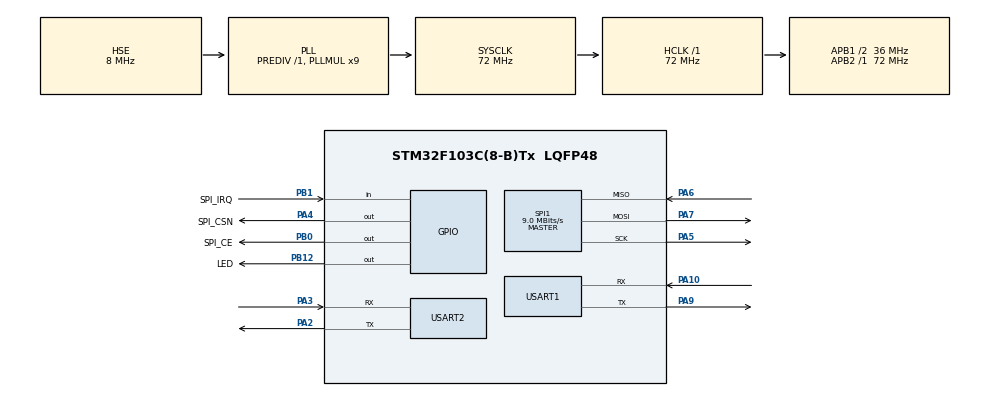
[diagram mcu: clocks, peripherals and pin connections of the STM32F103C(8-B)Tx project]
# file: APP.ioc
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IWDG.Prescaler=IWDG_PRESCALER_16
IWDG.Reload=2499
Mcu.Family=STM32F1
Mcu.Name=STM32F103C(8-B)Tx
Mcu.Package=LQFP48
NVIC.PriorityGroup=NVIC_PRIORITYGROUP_4
NVIC.TIM2_IRQn=true\:1\:0\:true\:false\:true\:true\:true\:true
NVIC.USART2_IRQn=true\:0\:0\:false\:false\:true\:true\:true\:true
PA10.Mode=Asynchronous
PA10.Signal=USART1_RX
PA13.Mode=Serial_Wire
PA13.Signal=SYS_JTMS-SWDIO
PA14.Mode=Serial_Wire
PA14.Signal=SYS_JTCK-SWCLK
PA2.Mode=Asynchronous
PA2.Signal=USART2_TX
PA3.GPIO_PuPd=GPIO_PULLDOWN
PA3.Mode=Asynchronous
PA3.Signal=USART2_RX
PA4.GPIO_Label=SPI_CSN
PA4.GPIO_Speed=GPIO_SPEED_FREQ_HIGH
PA4.PinState=GPIO_PIN_SET
PA4.Signal=GPIO_Output
PA5.Mode=Full_Duplex_Master
PA5.Signal=SPI1_SCK
PA6.Mode=Full_Duplex_Master
PA6.Signal=SPI1_MISO
PA7.Mode=Full_Duplex_Master
PA7.Signal=SPI1_MOSI
PA9.Mode=Asynchronous
PA9.Signal=USART1_TX
PB0.GPIO_Label=SPI_CE
PB0.GPIO_PuPd=GPIO_PULLUP
PB0.PinState=GPIO_PIN_SET
PB0.Signal=GPIO_Output
PB1.GPIO_Label=SPI_IRQ
PB1.GPIO_PuPd=GPIO_PULLUP
PB1.Signal=GPIO_Input
PB12.GPIO_Label=LED
PB12.PinState=GPIO_PIN_SET
PB12.Signal=GPIO_Output
PD0-OSC_IN.Mode=HSE-External-Oscillator
PD0-OSC_IN.Signal=RCC_OSC_IN
PD1-OSC_OUT.Mode=HSE-External-Oscillator
PD1-OSC_OUT.Signal=RCC_OSC_OUT
ProjectManager.HeapSize=0x200
ProjectManager.StackSize=0x400
ProjectManager.TargetToolchain=MDK-ARM V5.32
RCC.AHBFreq_Value=72000000
RCC.APB1CLKDivider=RCC_HCLK_DIV2
RCC.APB1Freq_Value=36000000
RCC.APB1TimFreq_Value=72000000
RCC.APB2Freq_Value=72000000
RCC.APB2TimFreq_Value=72000000
RCC.HCLKFreq_Value=72000000
RCC.PLLMUL=RCC_PLL_MUL9
RCC.PLLSourceVirtual=RCC_PLLSOURCE_HSE
RCC.SYSCLKFreq_VALUE=72000000
RCC.SYSCLKSource=RCC_SYSCLKSOURCE_PLLCLK
RCC.USBFreq_Value=72000000
SPI1.BaudRatePrescaler=SPI_BAUDRATEPRESCALER_8
SPI1.CalculateBaudRate=9.0 MBits/s
SPI1.Direction=SPI_DIRECTION_2LINES
SPI1.Mode=SPI_MODE_MASTER
SPI1.VirtualType=VM_MASTER
TIM2.AutoReloadPreload=TIM_AUTORELOAD_PRELOAD_DISABLE
TIM2.Period=1000-1
TIM2.Prescaler=7200-1
USART1.VirtualMode=VM_ASYNC
USART2.VirtualMode=VM_ASYNC
VP_CRC_VS_CRC.Mode=CRC_Activate
VP_IWDG_VS_IWDG.Mode=IWDG_Activate
VP_TIM2_VS_ClockSourceINT.Mode=Internal
board=custom

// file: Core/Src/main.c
/* USER CODE BEGIN Header */
/**
  ******************************************************************************
  * @file           : main.c
  * @brief          : Main program body
  ******************************************************************************
  * @attention
  *
  * Copyright (c) 2026 STMicroelectronics.
  * All rights reserved.
  *
  * This software is licensed under terms that can be found in the LICENSE file
  * in the root directory of this software component.
  * If no LICENSE file comes with this software, it is provided AS-IS.
  *
  ******************************************************************************
  */
/* USER CODE END Header */
#include "main.h"
#include "crc.h"
#include "iwdg.h"
#include "spi.h"
#include "tim.h"
#include "usart.h"
#include "gpio.h"

/* USER CODE BEGIN Includes */
#include "Mydef.h"
/* USER CODE END Includes */

/* USER CODE BEGIN PD */
#define RF_DATA_LEN 32U                 /* 2.4G 动态负载最大长度 */

/* USER CODE END PD */

void SystemClock_Config(void);

int main(void)
{

  /* USER CODE BEGIN 1 */
  __enable_irq(); /* BootLoader jumps to APP with interrupts masked. */
  /* USER CODE END 1 */

  /* MCU Configuration--------------------------------------------------------*/

  /* Reset of all peripherals, Initializes the Flash interface and the Systick. */
  HAL_Init();

  /* Configure the system clock */
  SystemClock_Config();

  /* Initialize all configured peripherals */
  MX_GPIO_Init();
  MX_USART1_UART_Init();
  MX_SPI1_Init();
  MX_IWDG_Init();
  MX_TIM2_Init();
  MX_CRC_Init();
  MX_USART2_UART_Init();
  /* USER CODE BEGIN 2 */

/*自检程序先不写，在函数库里加成功或失败的函数*/

FlashManage_ConfirmRunning();

uint8_t RXData[RF_DATA_LEN]={0};                    /* 2.4G 接收数据 */
uint8_t TXData[1]={0xF5};                           /* 2.4G 接收模式的 ACK 数据 */
uint8_t UART2_TXData[UART2_RF_PAYLOAD_MAX]={0};     /* 从环形缓冲区取出的一包数据 */
uint8_t uart2_tx_len=0;                             /* 本次从环形缓冲区取出的长度 */
ReadClc_Data Data={0};
SendClc_Data SendData={0};

/* 开机元数据按需初始化：保留 BootLoader 写入的 ID、状态和页元数据 */
FlashManage_InitIfNeeded();

/* 启动 TIM2 时基，初始化 UART2 接收，并直接进入 2.4G 接收模式 */
TIM_LED_Start();
Uart2_Init();
FREQ2_4G_ReadInit();

Data.RXData_P0=RXData;
Data.RXData_P1=RXData;
Data.TXData=TXData;
Data.TXLen=1;

  /* USER CODE END 2 */

  /* Infinite loop */
  while (1)
  {

    /* USER CODE BEGIN 3 */
  /* 主循环每轮刷新看门狗 */
  HAL_IWDG_Refresh(&hiwdg);
	  /*开接收*/
  Uart2_Poll();

  /* 收到一帧 UART2 数据后只发送一次，随后立即恢复接收模式 */
  if (Uart2_HasData())
  {
    uart2_tx_len = Uart2_Read(UART2_TXData, UART2_RF_PAYLOAD_MAX);
    if (uart2_tx_len > 0U)
    {
//      FREQ2_4G_SendInit();
//      SendData.TXData = UART2_TXData;
//      SendData.TXLen = uart2_tx_len;
//      (void)FREQ2_4G_SendClc(&SendData);
//      FREQ2_4G_ReadInit();
		uint8_t RX[20];
		FlashManage_HCC(UART2_TXData,RX);
      HAL_IWDG_Refresh(&hiwdg);
    }
  }

  /* 读取 2.4G 数据；通道0转发到 UART1，通道1转发到 UART2 */
  if ((FREQ2_4G_ReadClc(&Data) == HAL_OK) &&
      (Data.RXLen > 0U) &&
      (Data.RXLen <= RF_DATA_LEN))
  {
    if (Data.RX_PIN == 0U)
    {
      Uart_Send(&huart1, RXData, Data.RXLen);
    }
    else if (Data.RX_PIN == 1U)
    {
      Uart_Send(&huart2, RXData, Data.RXLen);
    }
  }
  }

  /* USER CODE END 3 */
}

void SystemClock_Config(void)
{
  RCC_OscInitTypeDef RCC_OscInitStruct = {0};
  RCC_ClkInitTypeDef RCC_ClkInitStruct = {0};

  /** Initializes the RCC Oscillators according to the specified parameters
  * in the RCC_OscInitTypeDef structure.
  */
  RCC_OscInitStruct.OscillatorType = RCC_OSCILLATORTYPE_LSI|RCC_OSCILLATORTYPE_HSE;
  RCC_OscInitStruct.HSEState = RCC_HSE_ON;
  RCC_OscInitStruct.HSEPredivValue = RCC_HSE_PREDIV_DIV1;
  RCC_OscInitStruct.HSIState = RCC_HSI_ON;
  RCC_OscInitStruct.LSIState = RCC_LSI_ON;
  RCC_OscInitStruct.PLL.PLLState = RCC_PLL_ON;
  RCC_OscInitStruct.PLL.PLLSource = RCC_PLLSOURCE_HSE;
  RCC_OscInitStruct.PLL.PLLMUL = RCC_PLL_MUL9;
  if (HAL_RCC_OscConfig(&RCC_OscInitStruct) != HAL_OK)
  {
    Error_Handler();
  }

  /** Initializes the CPU, AHB and APB buses clocks
  */
  RCC_ClkInitStruct.ClockType = RCC_CLOCKTYPE_HCLK|RCC_CLOCKTYPE_SYSCLK
                              |RCC_CLOCKTYPE_PCLK1|RCC_CLOCKTYPE_PCLK2;
  RCC_ClkInitStruct.SYSCLKSource = RCC_SYSCLKSOURCE_PLLCLK;
  RCC_ClkInitStruct.AHBCLKDivider = RCC_SYSCLK_DIV1;
  RCC_ClkInitStruct.APB1CLKDivider = RCC_HCLK_DIV2;
  RCC_ClkInitStruct.APB2CLKDivider = RCC_HCLK_DIV1;

  if (HAL_RCC_ClockConfig(&RCC_ClkInitStruct, FLASH_LATENCY_2) != HAL_OK)
  {
    Error_Handler();
  }
}

void Error_Handler(void)
{
  __disable_irq();
  while (1)
  {
  }
}
